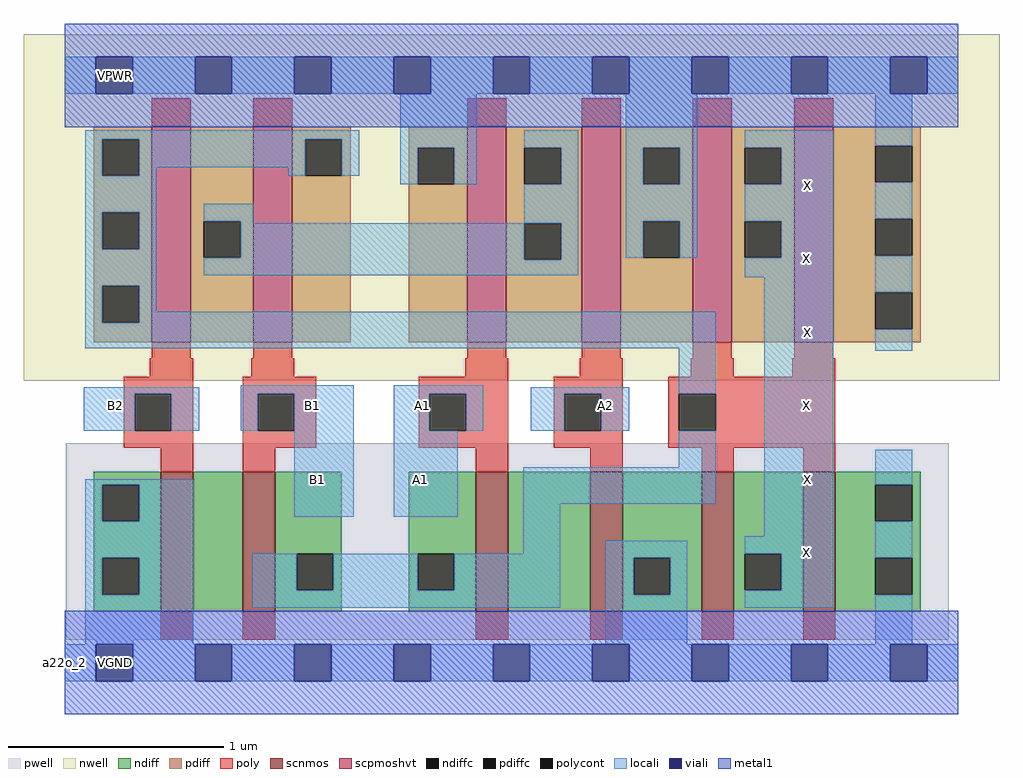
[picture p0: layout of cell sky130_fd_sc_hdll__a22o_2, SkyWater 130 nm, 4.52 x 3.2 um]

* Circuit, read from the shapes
.subckt sky130_fd_sc_hdll__a22o_2 A1 A2 B1 B2 VGND VNB VPB VPWR X
XM1 n1 B2 VGND VNB sky130_fd_pr__nfet_01v8 w=0.65 l=0.15
XM2 n2 B1 n1 VNB sky130_fd_pr__nfet_01v8 w=0.65 l=0.15
XM3 n3 A1 n2 VNB sky130_fd_pr__nfet_01v8 w=0.65 l=0.15
XM4 VGND A2 n3 VNB sky130_fd_pr__nfet_01v8 w=0.65 l=0.15
XM5 X n2 VGND VNB sky130_fd_pr__nfet_01v8 w=0.65 l=0.15 m=2
XM6 n4 B2 n2 VPB sky130_fd_pr__pfet_01v8_hvt w=1 l=0.18
XM7 n2 B1 n4 VPB sky130_fd_pr__pfet_01v8_hvt w=1 l=0.18
XM8 n4 A1 VPWR VPB sky130_fd_pr__pfet_01v8_hvt w=1 l=0.18
XM9 VPWR A2 n4 VPB sky130_fd_pr__pfet_01v8_hvt w=1 l=0.18
XM10 X n2 VPWR VPB sky130_fd_pr__pfet_01v8_hvt w=1 l=0.18 m=2
.ends

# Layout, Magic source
magic
tech sky130A
magscale 1 2
<< nwell >>
rect -38 261 866 582
<< pwell >>
rect 1 21 819 203
rect 30 -17 64 21
<< scnmos >>
rect 89 47 119 177
rect 165 47 195 177
rect 381 47 411 177
rect 487 47 517 177
rect 590 47 620 177
rect 684 47 714 177
<< scpmoshvt >>
rect 81 297 117 497
rect 175 297 211 497
rect 373 297 409 497
rect 479 297 515 497
rect 582 297 618 497
rect 676 297 712 497
<< ndiff >>
rect 27 165 89 177
rect 27 131 35 165
rect 69 131 89 165
rect 27 97 89 131
rect 27 63 35 97
rect 69 63 89 97
rect 27 47 89 63
rect 119 47 165 177
rect 195 101 257 177
rect 195 67 215 101
rect 249 67 257 101
rect 195 47 257 67
rect 319 101 381 177
rect 319 67 327 101
rect 361 67 381 101
rect 319 47 381 67
rect 411 47 487 177
rect 517 97 590 177
rect 517 63 527 97
rect 561 63 590 97
rect 517 47 590 63
rect 620 101 684 177
rect 620 67 630 101
rect 664 67 684 101
rect 620 47 684 67
rect 714 165 793 177
rect 714 131 751 165
rect 785 131 793 165
rect 714 97 793 131
rect 714 63 751 97
rect 785 63 793 97
rect 714 47 793 63
<< pdiff >>
rect 27 485 81 497
rect 27 451 35 485
rect 69 451 81 485
rect 27 417 81 451
rect 27 383 35 417
rect 69 383 81 417
rect 27 349 81 383
rect 27 315 35 349
rect 69 315 81 349
rect 27 297 81 315
rect 117 409 175 497
rect 117 375 129 409
rect 163 375 175 409
rect 117 297 175 375
rect 211 485 265 497
rect 211 451 223 485
rect 257 451 265 485
rect 211 297 265 451
rect 319 477 373 497
rect 319 443 327 477
rect 361 443 373 477
rect 319 297 373 443
rect 409 477 479 497
rect 409 443 426 477
rect 460 443 479 477
rect 409 407 479 443
rect 409 373 426 407
rect 460 373 479 407
rect 409 297 479 373
rect 515 477 582 497
rect 515 443 536 477
rect 570 443 582 477
rect 515 409 582 443
rect 515 375 536 409
rect 570 375 582 409
rect 515 297 582 375
rect 618 477 676 497
rect 618 443 630 477
rect 664 443 676 477
rect 618 409 676 443
rect 618 375 630 409
rect 664 375 676 409
rect 618 297 676 375
rect 712 479 793 497
rect 712 445 751 479
rect 785 445 793 479
rect 712 411 793 445
rect 712 377 751 411
rect 785 377 793 411
rect 712 343 793 377
rect 712 309 751 343
rect 785 309 793 343
rect 712 297 793 309
<< ndiffc >>
rect 35 131 69 165
rect 35 63 69 97
rect 215 67 249 101
rect 327 67 361 101
rect 527 63 561 97
rect 630 67 664 101
rect 751 131 785 165
rect 751 63 785 97
<< pdiffc >>
rect 35 451 69 485
rect 35 383 69 417
rect 35 315 69 349
rect 129 375 163 409
rect 223 451 257 485
rect 327 443 361 477
rect 426 443 460 477
rect 426 373 460 407
rect 536 443 570 477
rect 536 375 570 409
rect 630 443 664 477
rect 630 375 664 409
rect 751 445 785 479
rect 751 377 785 411
rect 751 309 785 343
<< poly >>
rect 81 497 117 523
rect 175 497 211 523
rect 373 497 409 523
rect 479 497 515 523
rect 582 497 618 523
rect 676 497 712 523
rect 81 282 117 297
rect 175 282 211 297
rect 373 282 409 297
rect 479 282 515 297
rect 582 282 618 297
rect 676 282 712 297
rect 79 265 119 282
rect 173 265 213 282
rect 371 265 411 282
rect 477 265 517 282
rect 580 265 620 282
rect 674 265 714 282
rect 55 249 119 265
rect 55 215 65 249
rect 99 215 119 249
rect 55 199 119 215
rect 89 177 119 199
rect 165 249 233 265
rect 165 215 179 249
rect 213 215 233 249
rect 165 199 233 215
rect 328 249 411 265
rect 328 215 338 249
rect 372 215 411 249
rect 328 199 411 215
rect 453 249 517 265
rect 453 215 463 249
rect 497 215 517 249
rect 453 199 517 215
rect 559 249 714 265
rect 559 215 569 249
rect 603 215 714 249
rect 559 199 714 215
rect 165 177 195 199
rect 381 177 411 199
rect 487 177 517 199
rect 590 177 620 199
rect 684 177 714 199
rect 89 21 119 47
rect 165 21 195 47
rect 381 21 411 47
rect 487 21 517 47
rect 590 21 620 47
rect 684 21 714 47
<< polycont >>
rect 65 215 99 249
rect 179 215 213 249
rect 338 215 372 249
rect 463 215 497 249
rect 569 215 603 249
<< locali >>
rect 0 527 29 561
rect 63 527 121 561
rect 155 527 213 561
rect 247 527 305 561
rect 339 527 397 561
rect 431 527 489 561
rect 523 527 581 561
rect 615 527 673 561
rect 707 527 765 561
rect 799 527 828 561
rect 19 485 273 493
rect 19 451 35 485
rect 69 459 223 485
rect 69 451 85 459
rect 207 451 223 459
rect 257 451 273 485
rect 311 477 382 527
rect 19 417 85 451
rect 311 443 327 477
rect 361 443 382 477
rect 426 477 476 493
rect 460 443 476 477
rect 19 383 35 417
rect 69 383 85 417
rect 19 349 85 383
rect 129 409 175 425
rect 163 407 175 409
rect 426 407 476 443
rect 163 375 426 407
rect 129 373 426 375
rect 460 373 476 407
rect 520 477 586 527
rect 520 443 536 477
rect 570 443 586 477
rect 520 409 586 443
rect 520 375 536 409
rect 570 375 586 409
rect 630 477 712 493
rect 664 443 712 477
rect 630 409 712 443
rect 664 375 712 409
rect 129 359 476 373
rect 630 357 712 375
rect 19 315 35 349
rect 69 325 85 349
rect 69 315 603 325
rect 19 291 603 315
rect 18 249 125 255
rect 18 215 65 249
rect 99 215 125 249
rect 163 249 268 257
rect 163 215 179 249
rect 19 165 119 170
rect 19 131 35 165
rect 69 131 119 165
rect 213 135 268 249
rect 305 249 388 257
rect 305 215 338 249
rect 372 215 388 249
rect 432 249 523 255
rect 432 215 463 249
rect 497 215 523 249
rect 569 249 603 291
rect 305 135 364 215
rect 569 181 603 215
rect 425 147 603 181
rect 19 97 119 131
rect 425 101 459 147
rect 648 117 712 357
rect 751 479 785 527
rect 751 411 785 445
rect 751 343 785 377
rect 751 289 785 309
rect 19 63 35 97
rect 69 63 119 97
rect 19 17 119 63
rect 174 67 215 101
rect 249 67 327 101
rect 361 67 459 101
rect 174 51 459 67
rect 501 97 577 113
rect 501 63 527 97
rect 561 63 577 97
rect 501 17 577 63
rect 630 101 712 117
rect 664 67 712 101
rect 630 51 712 67
rect 751 165 785 197
rect 751 97 785 131
rect 751 17 785 63
rect 0 -17 29 17
rect 63 -17 121 17
rect 155 -17 213 17
rect 247 -17 305 17
rect 339 -17 397 17
rect 431 -17 489 17
rect 523 -17 581 17
rect 615 -17 673 17
rect 707 -17 765 17
rect 799 -17 828 17
<< viali >>
rect 29 527 63 561
rect 121 527 155 561
rect 213 527 247 561
rect 305 527 339 561
rect 397 527 431 561
rect 489 527 523 561
rect 581 527 615 561
rect 673 527 707 561
rect 765 527 799 561
rect 29 -17 63 17
rect 121 -17 155 17
rect 213 -17 247 17
rect 305 -17 339 17
rect 397 -17 431 17
rect 489 -17 523 17
rect 581 -17 615 17
rect 673 -17 707 17
rect 765 -17 799 17
<< metal1 >>
rect 0 561 828 592
rect 0 527 29 561
rect 63 527 121 561
rect 155 527 213 561
rect 247 527 305 561
rect 339 527 397 561
rect 431 527 489 561
rect 523 527 581 561
rect 615 527 673 561
rect 707 527 765 561
rect 799 527 828 561
rect 0 496 828 527
rect 0 17 828 48
rect 0 -17 29 17
rect 63 -17 121 17
rect 155 -17 213 17
rect 247 -17 305 17
rect 339 -17 397 17
rect 431 -17 489 17
rect 523 -17 581 17
rect 615 -17 673 17
rect 707 -17 765 17
rect 799 -17 828 17
rect 0 -48 828 -17
<< labels >>
flabel locali s 315 221 349 255 0 FreeSans 200 0 0 0 A1
port 1 nsew signal input
flabel locali s 484 221 518 255 0 FreeSans 200 0 0 0 A2
port 2 nsew signal input
flabel locali s 671 425 705 459 0 FreeSans 200 0 0 0 X
port 9 nsew signal output
flabel locali s 30 221 64 255 0 FreeSans 200 0 0 0 B2
port 4 nsew signal input
flabel locali s 213 221 247 255 0 FreeSans 200 0 0 0 B1
port 3 nsew signal input
flabel locali s 313 153 347 187 0 FreeSans 200 0 0 0 A1
port 1 nsew signal input
flabel locali s 217 153 251 187 0 FreeSans 200 0 0 0 B1
port 3 nsew signal input
flabel locali s 670 357 704 391 0 FreeSans 200 0 0 0 X
port 9 nsew signal output
flabel locali s 670 221 704 255 0 FreeSans 200 0 0 0 X
port 9 nsew signal output
flabel locali s 671 289 705 323 0 FreeSans 200 0 0 0 X
port 9 nsew signal output
flabel locali s 670 85 704 119 0 FreeSans 200 0 0 0 X
port 9 nsew signal output
flabel locali s 671 153 705 187 0 FreeSans 200 0 0 0 X
port 9 nsew signal output
flabel metal1 s 30 527 64 561 0 FreeSans 200 0 0 0 VPWR
port 8 nsew power bidirectional
flabel metal1 s 30 -17 64 17 0 FreeSans 200 0 0 0 VGND
port 5 nsew ground bidirectional
flabel nwell s 30 527 64 561 0 FreeSans 200 0 0 0 VPB
port 7 nsew power bidirectional
flabel pwell s 30 -17 64 17 0 FreeSans 200 0 0 0 VNB
port 6 nsew ground bidirectional
rlabel comment s 0 0 0 0 4 a22o_2
<< properties >>
string LEFsite unithd
string LEFclass CORE
string FIXED_BBOX 0 0 828 544
string GDS_FILE $PDKPATH/libs.ref/sky130_fd_sc_hdll/gds/sky130_fd_sc_hdll.gds
string LEFsymmetry X Y R90
string GDS_END 60070
string GDS_START 52466
string LEFproperties maskLayoutSubType "abstract" prCellType "standard" originalViewName "layout"
<< end >>
